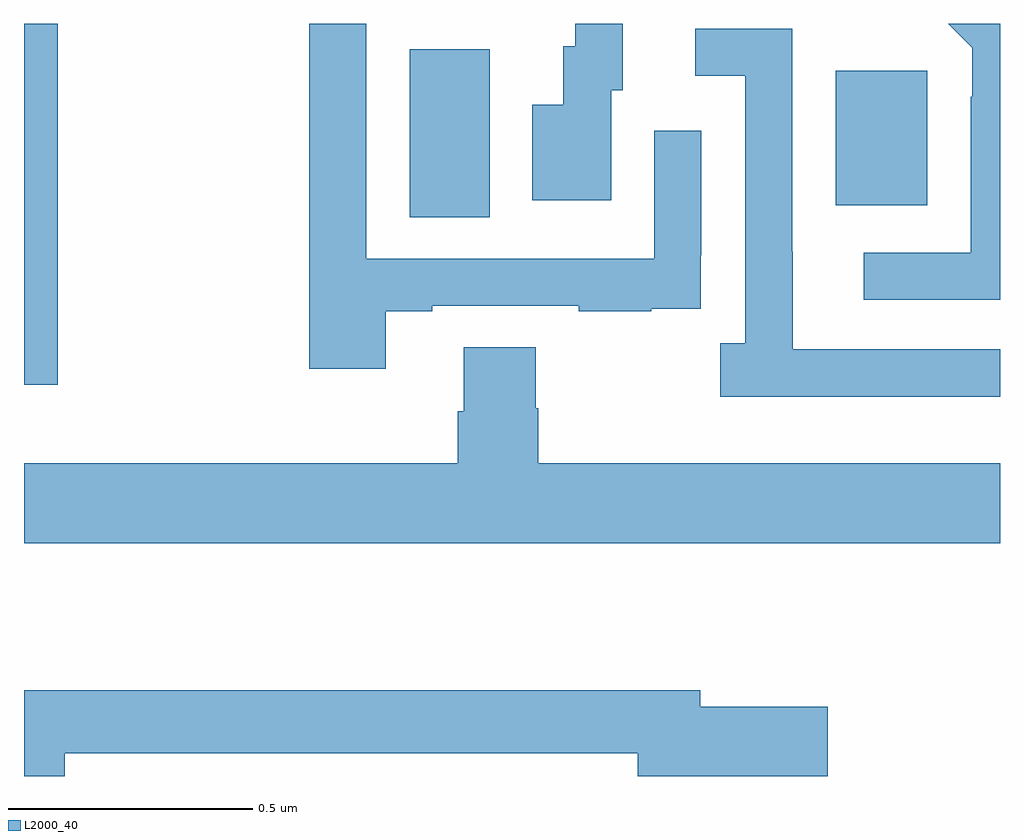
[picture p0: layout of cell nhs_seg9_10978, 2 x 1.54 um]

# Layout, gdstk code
import gdstk
lib = gdstk.Library(unit=1e-6, precision=1e-09)
def R(c, l, rs):  # rectangles x0, y0, x1, y1
    for r in rs: c.add(gdstk.rectangle(r[:2], r[2:], *l))
def P(c, l, *ps):  # polygons
    for p in ps: c.add(gdstk.Polygon(p, *l))
L2000_40 = (2000, 40)

nhs_seg9_10978 = lib.new_cell('nhs_seg9_10978')
R(nhs_seg9_10978, L2000_40, [(250,1180.761,250.069,1181.5), (250.79,1181.104,250.954,1181.448), (251.663,1181.129,251.851,1181.404)])
P(nhs_seg9_10978, L2000_40, [(251.203,1181.364),(251.227,1181.364),(251.227,1181.5),(251.13,1181.5),(251.13,1181.454),(251.105,1181.454),(251.105,1181.335),(251.042,1181.335),(251.042,1181.139),(251.203,1181.139)],
  [(252,1181.5),(251.894,1181.5),(251.943,1181.451),(251.943,1181.351),(251.94,1181.351),(251.94,1181.031),(251.721,1181.031),(251.721,1180.935),(252,1180.935)],
  [(250.741,1180.911),(250.837,1180.911),(250.837,1180.923),(251.137,1180.923),(251.137,1180.911),(251.285,1180.911),(251.285,1180.917),(251.387,1180.917),(251.387,1181.026),(251.388,1181.026),(251.388,1181.281),(251.292,1181.281),(251.292,1181.019),(250.701,1181.019),(250.701,1181.5),(250.585,1181.5),(250.585,1180.794),(250.741,1180.794)],
  [(252,1180.833),(251.575,1180.833),(251.575,1181.033),(251.574,1181.033),(251.574,1181.49),(251.376,1181.49),(251.376,1181.394),(251.478,1181.394),(251.478,1180.846),(251.427,1180.846),(251.427,1180.736),(252,1180.736)],
  [(252,1180.6),(251.054,1180.6),(251.054,1180.713),(251.049,1180.713),(251.049,1180.838),(250.901,1180.838),(250.901,1180.706),(250.889,1180.706),(250.889,1180.6),(250,1180.6),(250,1180.436),(252,1180.436)],
  [(250.084,1180.006),(251.258,1180.006),(251.258,1179.959),(251.647,1179.959),(251.647,1180.101),(251.386,1180.101),(251.386,1180.135),(250,1180.135),(250,1179.959),(250.084,1179.959)])

lib.write_gds('nhs_seg9_10978.gds')
